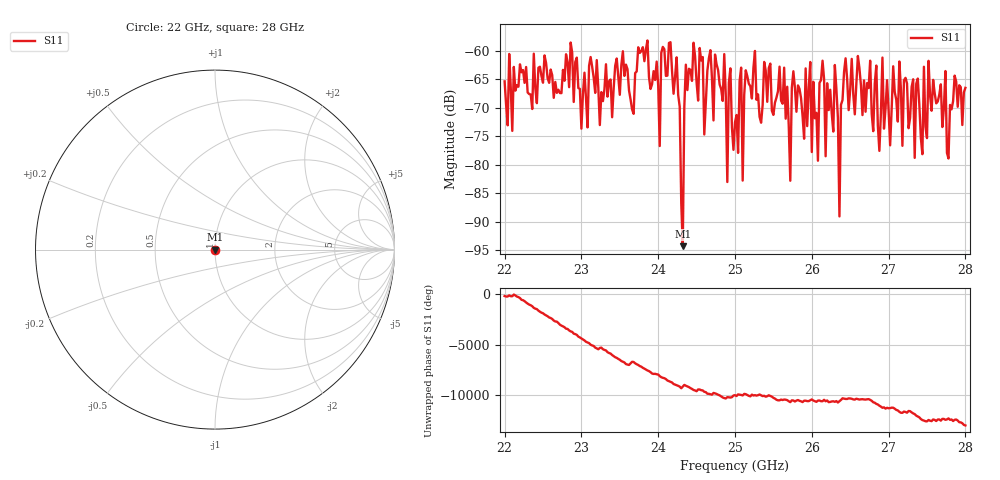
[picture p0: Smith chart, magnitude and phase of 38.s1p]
#  HZ  S  RI  R  50.00
! Rohde & Schwarz ZVA40 4Ports - Version 3.90 - 1145.1110k42 SN: 100403
! Date: 2023-10-04 07:58:47
! Measurement: S12
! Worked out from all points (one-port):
!   301 points, 22 GHz to 28 GHz, reference 50 ohm
!   lowest |S11| = -94.3 dB at 24.32 GHz (marker M1), VSWR 1.00, Z = 50 - j0.000237 ohm
!   |S11| at or under -10 dB: start of sweep to end of sweep
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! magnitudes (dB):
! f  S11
! 22 GHz  -65.4
! 22.76 GHz  -63.3
! 23.5 GHz  -67.7
! 24.26 GHz  -67.7
! 24.32 GHz  -94.3
! 24.36 GHz  -62.4
! 24.46 GHz  -58.6
! 24.6 GHz  -74.7
! 24.68 GHz  -59.9
! 24.86 GHz  -60.6
! 24.9 GHz  -83.0
! 25 GHz  -72.6
! 25.64 GHz  -62.9
! 25.72 GHz  -82.8
! 25.76 GHz  -63.6
! 25.9 GHz  -75.4
! 25.98 GHz  -61.9
! 26 GHz  -77.8
! 26.02 GHz  -65.4
! 26.08 GHz  -79.3
! 26.14 GHz  -61.7
! 26.18 GHz  -78.5
! 26.2 GHz  -65.7
! 26.3 GHz  -62.5
! 26.36 GHz  -89.1
! 26.5 GHz  -66.8
! 27.26 GHz  -73.6
! 28 GHz  -66.5
